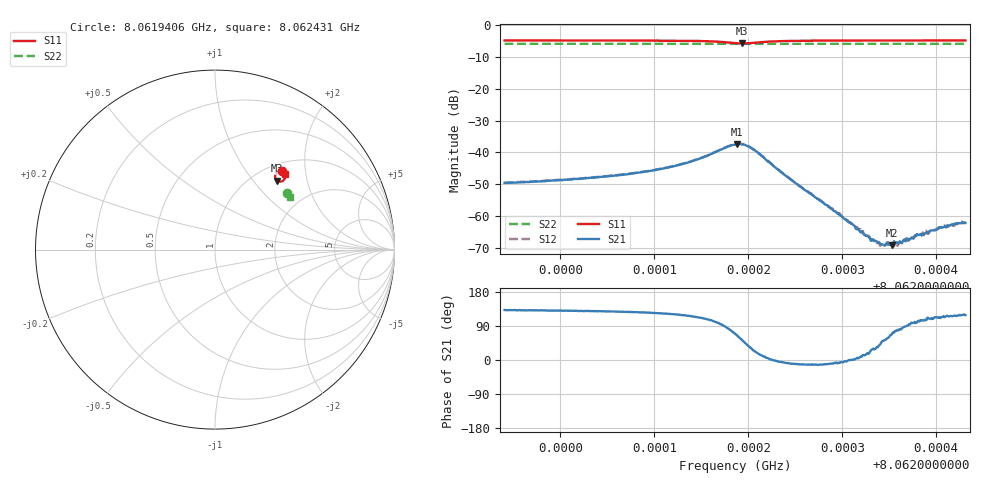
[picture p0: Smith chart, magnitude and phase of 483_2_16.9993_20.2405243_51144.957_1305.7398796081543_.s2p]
#  HZ  S  RI  R  50.00
! Rohde & Schwarz Vector Network Analyzer
! Rohde-Schwarz,ZNB20-2Port,1311601062101988,3.16
! Created: UTC 3/20/2024, 11:13:46 PM
! freq[Hz]  re:S11  im:S11  re:S21  im:S21  re:S12  im:S12  re:S22  im:S22
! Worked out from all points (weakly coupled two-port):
!   401 points, 8.0619406 GHz to 8.062431 GHz, reference 50 ohm
!   highest |S21| = -37.33 dB at 8.0621883 GHz (marker M1); lowest = -69.2 dB at 8.0623526 GHz (marker M2)
!   lowest |S11| = -5.7 dB at 8.0621932 GHz (marker M3), VSWR 3.14, Z = 63.5 + j66.7 ohm
!   |S11| at or under -10 dB: nowhere
!   |S22| runs from -5.9 to -5.8 dB; largest |S21 - S12| = 0.0009
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8.0619406e9  0.3731 0.4388  -0.00222 0.00247  -0.00207 0.00262  0.4018 0.3148
8.06202275e9  0.3794 0.433  -0.00246 0.00298  -0.0023 0.00316  0.4048 0.3106
8.0620718e9  0.3838 0.4279  -0.00273 0.00366  -0.00256 0.00386  0.4065 0.3082
8.0621049e9  0.3872 0.4226  -0.00301 0.00455  -0.00272 0.00479  0.4077 0.3061
8.06214168e9  0.3909 0.4111  -0.00309 0.00674  -0.00267 0.00697  0.409 0.3039
8.06218582e9  0.3615 0.379  0.0047 0.0125  0.00536 0.0123  0.4088 0.3007
8.06218827e9  0.3561 0.3798  0.00595 0.0122  0.00671 0.0119  0.4086 0.3007
8.06219318e9  0.3454 0.3849  0.00804 0.0107  0.00886 0.0103  0.4083 0.3011
8.06220053e9  0.3357 0.3993  0.00993 0.00724  0.0105 0.00669  0.4084 0.3014
8.06220912e9  0.3359 0.4163  0.00971 0.00339  0.00985 0.00274  0.4091 0.3017
8.06223732e9  0.3578 0.4352  0.00457 -0.000525  0.00456 -0.000829  0.4112 0.301
8.06226797e9  0.3705 0.4347  0.00211 -0.000419  0.00207 -0.0006  0.4128 0.2992
8.06233172e9  0.382 0.4298  0.000364 0.000192  0.000402 0.000146  0.4154 0.2957
8.06234276e9  0.3832 0.4291  0.000229 0.000276  0.000262 0.000231  0.4157 0.2952
8.06235011e9  0.3841 0.4285  0.000167 0.000311  0.000185 0.000301  0.416 0.2948
8.06235257e9  0.3843 0.4282  0.000136 0.000319  0.000155 0.000326  0.4159 0.2947
8.06236115e9  0.3852 0.4277  5.67e-05 0.000398  6.15e-05 0.000372  0.4164 0.2942
8.06236605e9  0.3857 0.4274  1.59e-05 0.000431  2.65e-05 0.000419  0.4167 0.2939
8.06238077e9  0.3869 0.4263  -0.000116 0.000489  -0.000109 0.000503  0.4171 0.2931
8.06240651e9  0.3892 0.4248  -0.000264 0.000603  -0.000228 0.000631  0.4179 0.2919
8.06242123e9  0.3902 0.424  -0.000336 0.000689  -0.000305 0.000708  0.4185 0.2911
8.06243104e9  0.391 0.4233  -0.000373 0.000687  -0.000295 0.000748  0.4187 0.2906
